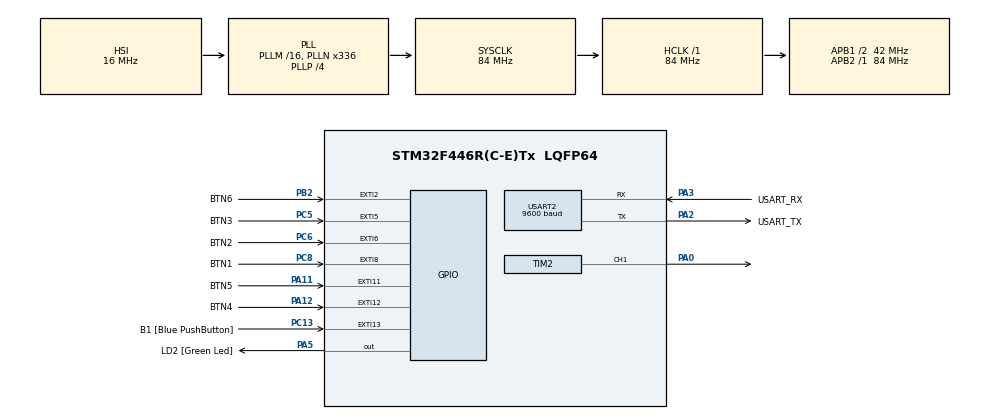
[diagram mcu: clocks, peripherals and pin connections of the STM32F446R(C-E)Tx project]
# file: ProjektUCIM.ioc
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Dma.Request0=TIM2_CH1
Dma.TIM2_CH1.0.Direction=DMA_MEMORY_TO_PERIPH
Dma.TIM2_CH1.0.FIFOMode=DMA_FIFOMODE_DISABLE
Dma.TIM2_CH1.0.Instance=DMA1_Stream5
Dma.TIM2_CH1.0.MemDataAlignment=DMA_MDATAALIGN_WORD
Dma.TIM2_CH1.0.MemInc=DMA_MINC_ENABLE
Dma.TIM2_CH1.0.Mode=DMA_CIRCULAR
Dma.TIM2_CH1.0.PeriphDataAlignment=DMA_PDATAALIGN_WORD
Dma.TIM2_CH1.0.PeriphInc=DMA_PINC_DISABLE
Dma.TIM2_CH1.0.Priority=DMA_PRIORITY_VERY_HIGH
Mcu.Family=STM32F4
Mcu.Name=STM32F446R(C-E)Tx
Mcu.Package=LQFP64
NVIC.DMA1_Stream5_IRQn=true\:0\:0\:false\:false\:true\:false\:true
NVIC.EXTI15_10_IRQn=true\:0\:0\:false\:false\:true\:true\:true
NVIC.EXTI2_IRQn=true\:0\:0\:false\:false\:true\:true\:true
NVIC.EXTI9_5_IRQn=true\:0\:0\:false\:false\:true\:true\:true
NVIC.PriorityGroup=NVIC_PRIORITYGROUP_0
NVIC.USART2_IRQn=true\:0\:0\:false\:false\:true\:true\:true
PA0-WKUP.Signal=S_TIM2_CH1_ETR
PA11.GPIO_Label=BTN5
PA11.GPIO_ModeDefaultEXTI=GPIO_MODE_IT_FALLING
PA11.GPIO_PuPd=GPIO_PULLUP
PA11.Signal=GPXTI11
PA12.GPIO_Label=BTN4
PA12.GPIO_ModeDefaultEXTI=GPIO_MODE_IT_FALLING
PA12.GPIO_PuPd=GPIO_PULLUP
PA12.Signal=GPXTI12
PA13.GPIO_Label=TMS
PA13.Mode=Serial_Wire
PA13.Signal=SYS_JTMS-SWDIO
PA14.GPIO_Label=TCK
PA14.Mode=Serial_Wire
PA14.Signal=SYS_JTCK-SWCLK
PA2.GPIO_Label=USART_TX
PA2.Mode=Asynchronous
PA2.Signal=USART2_TX
PA3.GPIO_Label=USART_RX
PA3.Mode=Asynchronous
PA3.Signal=USART2_RX
PA5.GPIO_Label=LD2 [Green Led]
PA5.Signal=GPIO_Output
PB2.GPIO_Label=BTN6
PB2.GPIO_ModeDefaultEXTI=GPIO_MODE_IT_FALLING
PB2.GPIO_PuPd=GPIO_PULLUP
PB2.Signal=GPXTI2
PB3.GPIO_Label=SWO
PB3.Signal=SYS_JTDO-SWO
PC13.GPIO_Label=B1 [Blue PushButton]
PC13.GPIO_ModeDefaultEXTI=GPIO_MODE_IT_FALLING
PC13.Signal=GPXTI13
PC14-OSC32_IN.Mode=LSE-External-Oscillator
PC14-OSC32_IN.Signal=RCC_OSC32_IN
PC15-OSC32_OUT.Mode=LSE-External-Oscillator
PC15-OSC32_OUT.Signal=RCC_OSC32_OUT
PC5.GPIO_Label=BTN3
PC5.GPIO_ModeDefaultEXTI=GPIO_MODE_IT_FALLING
PC5.GPIO_PuPd=GPIO_PULLUP
PC5.Signal=GPXTI5
PC6.GPIO_Label=BTN2
PC6.GPIO_ModeDefaultEXTI=GPIO_MODE_IT_FALLING
PC6.GPIO_PuPd=GPIO_PULLUP
PC6.Signal=GPXTI6
PC8.GPIO_Label=BTN1
PC8.GPIO_ModeDefaultEXTI=GPIO_MODE_IT_FALLING
PC8.GPIO_PuPd=GPIO_PULLUP
PC8.Signal=GPXTI8
PH0-OSC_IN.Mode=HSE-External-Oscillator
PH0-OSC_IN.Signal=RCC_OSC_IN
PH1-OSC_OUT.Mode=HSE-External-Oscillator
PH1-OSC_OUT.Signal=RCC_OSC_OUT
ProjectManager.HeapSize=0x200
ProjectManager.StackSize=0x400
ProjectManager.TargetToolchain=STM32CubeIDE
RCC.48MHZClocksFreq_Value=84000000
RCC.AHBFreq_Value=84000000
RCC.APB1CLKDivider=RCC_HCLK_DIV2
RCC.APB1Freq_Value=42000000
RCC.APB1TimFreq_Value=84000000
RCC.APB2Freq_Value=84000000
RCC.APB2TimFreq_Value=84000000
RCC.CortexFreq_Value=84000000
RCC.FLatency-AdvancedSettings=FLASH_LATENCY_2
RCC.HCLKFreq_Value=84000000
RCC.HSE_VALUE=8000000
RCC.HSI_VALUE=16000000
RCC.PLLN=336
RCC.PLLP=RCC_PLLP_DIV4
RCC.SYSCLKFreq_VALUE=84000000
RCC.SYSCLKSource=RCC_SYSCLKSOURCE_PLLCLK
RCC.USBFreq_Value=168000000
RCC.VCOOutputFreq_Value=336000000
SH.S_TIM2_CH1_ETR.0=TIM2_CH1,PWM Generation1 CH1
TIM2.Channel-PWM\ Generation1\ CH1=TIM_CHANNEL_1
TIM2.Period=104
USART2.BaudRate=9600
USART2.VirtualMode=VM_ASYNC
VP_CRC_VS_CRC.Mode=CRC_Activate
board=NUCLEO-F446RE

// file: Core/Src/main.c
/* USER CODE BEGIN Header */
/**
  ******************************************************************************
  * @file           : main.c
  * @brief          : Main program body
  ******************************************************************************
  * @attention
  *
  * <h2><center>&copy; Copyright (c) 2020 STMicroelectronics.
  * All rights reserved.</center></h2>
  *
  * This software component is licensed by ST under BSD 3-Clause license,
  * the "License"; You may not use this file except in compliance with the
  * License. You may obtain a copy of the License at:
  *                        opensource.org/licenses/BSD-3-Clause
  *
  ******************************************************************************
  */
/* USER CODE END Header */
#include "main.h"
#include "crc.h"
#include "dma.h"
#include "tim.h"
#include "usart.h"
#include "gpio.h"

/* USER CODE BEGIN Includes */
#include "stdarg.h"
#include "string.h"
#include "math.h"
#include "ws2812b.h"
#include <ctype.h>
#include <stdlib.h>
#include <stdio.h>
/* USER CODE END Includes */

/* USER CODE BEGIN PV */

//\\\\\\\\\\\\\\\\\\\\\\\\\\Protokół Komunikacyjny/////////////////////////////
/*========================Receive==============================*/
#define buf_RX_length 255 //dlugość bufora
volatile uint8_t buf_RX[buf_RX_length];
volatile uint16_t RX_EMPTY = 0; //wskaźnik zapisu bufora
volatile uint16_t RX_BUSY = 0; //wskaźnik odbioru bufora
/*========================Transmit=============================*/
#define buf_TX_length 255 //długość bufora
volatile uint8_t buf_TX[buf_TX_length];
volatile uint16_t TX_EMPTY = 0; //wskaźnik zapisu bufora
volatile uint16_t TX_BUSY = 0; //wskaźnik odbioru bufora
/*========================Inne=================================*/
uint8_t errorAS; //Flaga już wysłanego błędu
uint8_t commandSlot = 0; //Indeks tablicy command
char command[100]; //Tablica odczytująca komende
char returnFrame[9]; //Tablica zawierająca ramke zwrotną

////////////////////////////Protokół Komunikacyjny\\\\\\\\\\\\\\\\\\\\\\\\\\\\\\

//\\\\\\\\\\\\\\\\\\\\\\\\\\WS2812B/////////////////////////////

#define n_led 8 //ilość obsługiwanych ledów
//#define n_led 256 //ilość obsługiwanych ledów
#define reset_bit 60 //ilośc bitów resetujących
#define n_bit reset_bit+24*n_led //połączona ilość bitów do wysłania

uint32_t reset = 0; //bit resrtu
uint32_t high = 64; //bit logiczne 1
uint32_t low = 32; //bit logiczne 0

uint32_t control_buffer[n_bit]; //Cały bufor przechowujący dane do LED'ów, podawany do PWM'a

////////////////////////////WS2812B\\\\\\\\\\\\\\\\\\\\\\\\\\\\\\

uint8_t switch_color = 0; //Indeks do siwtch'a
int execute = 1;

//\\\\\\\\\\\\\\\\\\\\\\\\\\LED ANIMACJE/////////////////////////////
//Współrzędne macierzy do testowania
int x = 1, x2 = 1, y = 1, y2 = 1;

//zmienne kontroli animacji z defaultowymi wartościami
float brightness = 0.6; //jasność (od 0 do 1 - mnoży kolory)
float speed = 0.6; //prędkość animacji (od 0 do 1 - mnoży kolory)
uint8_t colourID = 2; //ID koloru
uint8_t modeID = 1; //ID trybu wyświetlania (0 to tryb testowania)

//KOLORY
uint8_t pink[3] = {255,0,255};
uint8_t folly[3] = {255,0,85};
uint8_t red[3] = {255,0,0}; //RED
uint8_t orange[3] = {255,128,0};

uint8_t lime[3] = {212,255,0};
uint8_t brightGreen[3] = {85,255,0};
uint8_t green[3] = {0,255,0};//GREEN
uint8_t malachite[3] = {0,255,85};

uint8_t capri[3] = {0,170,255};
uint8_t blue[3] = {0,0,255};//BLUE
uint8_t indigo[3] = {128,0,255};

uint8_t white[3] = {255,255,255};
uint8_t turn_off[3] = {0,0,0};
uint8_t inputColour[3] = {0, 0, 0};

uint8_t noOfColours = 11; //liczba używanych kolorów podczas normalnej pracy
//tablica wskaźników na kolory
uint8_t *colourPtr[13] = {inputColour, turn_off, red, orange, lime, brightGreen, green, malachite, capri, blue, indigo, pink, folly}; //noOfColours+2

int Tick = 0; //tick zegara co 1 ms
uint8_t somethingChanged = 1; //Flaga wprowadzonej zmiany (koloru, prędkości, jasności, trybu)

//NEW
int colorSwitchStatus = 0; //zmienna statusu funkcji colorSwitch

////////////////////////////LED ANIMACJE\\\\\\\\\\\\\\\\\\\\\\\\\\\\\\

//EXTI
uint8_t interrupted = 0; //zmienna sprawdza czy przerwanei zostało właśnie wywołane
uint32_t interruptTick = 0; //Tick opóźnienia przerwania

/* USER CODE END PV */

void SystemClock_Config(void);
/* USER CODE BEGIN PFP */

//\\\\\\\\\\\\\\\\\\\\\\\\\\Protokół Komunikacyjny/////////////////////////////
void communicationProtocol();
void readFrame();
int controlSumRX();
void readCommand();
void returnFrameAppend(char str[]);
int compareCommand(char commandStr[], int hasArgs, char str[]);
uint32_t hex2int(char *hex);
int numOfDigits(long long num);

void Send(char* msg_to_send, ...);
////////////////////////////Protokół Komunikacyjny\\\\\\\\\\\\\\\\\\\\\\\\\\\\\\

//\\\\\\\\\\\\\\\\\\\\\\\\\\WS2812B/////////////////////////////

uint8_t switchBitOrder(uint8_t var); //Funkcja zmienia endian
uint32_t getColorInBit(uint8_t red,uint8_t green,uint8_t blue); //Funkcja zmienia dec na binarny
uint32_t mapBitInNZR(uint32_t color, uint8_t c); //Funkcja zmienia binarny na NZR
void get_aLight(uint8_t * color_vector, uint16_t ledID, uint16_t ledAmount);
void innit_aLight();
void launchLED(); //TODO jakaś implementacja
////////////////////////////WS2812B\\\\\\\\\\\\\\\\\\\\\\\\\\\\\\

//\\\\\\\\\\\\\\\\\\\\\\\\\\LED ANIMACJE/////////////////////////////

//NEW
void checkArgs(); //sprawdza poprawność zakresu argumentów i je ewentualnie zapętla
void exeLED(); //wybiera funkcje trybu
void save(); //zapisuje obecny stan do zmiennych temp lub do pamiecy flash
void init(); //uruchamia od nowa wszystko i resetuje pamiec flash oraz zmienne temp
void bringback(); //przywraca stan z pamięci flash lub zmiennych temp
void testInit(); //zachowuje zmienne save() i przechodzi w tryb testowania

//Funkcje zmieniające parametry
void CMN(); //Zmiana trybu wyświetlania na następny.
void CMP(); //Zmiana trybu wyświetlania na poprzedni.
void CCN(); //Zmiana wyświetlanego koloru na następny.
void CCP(); //Zmiana wyświetlanego koloru na poprzedni
void CBU(); //Zmiana jasności na wyższy stopień.
void CBD(); //Zmiana jasności na niższy stopień.
void CSU(); //Zmiana prędkości wyświetlania na wyższy stopień.
void CSD(); //Zmiana prędkości wyświetlania na niższy stopień.

//Animacje
uint8_t * colorSwitch(uint8_t * color_vector1, uint8_t * color_vector2, uint8_t jump); //Funkcja przechodzi między dwoma kolorami
int noOfAnimations = 5;
void testMode(); //Tryb testowy
void oneColour(); //wyświetla jeden stały kolor
void colourPulse(); //wyświetla pulsujący kolor
void colourFade(); //Przechodzi między odcieniami jednego koloru
void rainbow(); //przechodzi przez wszystkie kolory
void iconMode(); //Wyświetla animacje ikon

////////////////////////////LED ANIMACJE\\\\\\\\\\\\\\\\\\\\\\\\\\\\\\

//\\\\\\\\\\\\\\\\\\\\\\\\\\FLASH/////////////////////////////

//TODO test
void eraseSector5(); //Funkcja czyści sektor piąty
void getNextFreeFlashWord(); //Funkcja szuka pierwszej wolnej pary słów w piątym sektorze
void SaveVarsToFlash(); //Funkcja zapisuje zmienne operacyjne do flash
void getVarsFromFlash(); //Funkcja odczytuje ostatnie zmienne operacyjne z pamięci flash
uint32_t * nextFreeFlashWord = (uint32_t*)0x08020000; //Wskaźnik na pierwsze wolne słowo pamięci

////////////////////////////FLASH\\\\\\\\\\\\\\\\\\\\\\\\\\\\\

/* USER CODE END PFP */

/* USER CODE BEGIN 0 */

void HAL_GPIO_EXTI_Callback(uint16_t GPIO_Pin)
{
	if(GPIO_Pin == B1_Pin)
	{
		HAL_GPIO_TogglePin(LD2_GPIO_Port, LD2_Pin);
		Send("test\r\n");
	}
	else if(GPIO_Pin == BTN1_Pin && !interrupted) //Przycisk 1
	{
		interrupted = 1;
		CCN();
	}
	else if(GPIO_Pin == BTN2_Pin && !interrupted) //Przycisk 2
	{
		interrupted = 1;
		CMN();
	}
	else if(GPIO_Pin == BTN3_Pin && !interrupted) //Przycisk 3
	{
		interrupted = 1;
		CSU();
	}
	else if(GPIO_Pin == BTN4_Pin && !interrupted) //Przycisk 4
	{
		interrupted = 1;
		CBU();
	}
	else if(GPIO_Pin == BTN5_Pin && !interrupted) //Przycisk 5
	{
		interrupted = 1;
		CMP();
	}
	else if(GPIO_Pin == BTN6_Pin && !interrupted) //Przycisk 6
	{
		interrupted = 1;
		CCP();
	}
}

void Sys_1ms_Tick() //Funkcja wywoływana co 1ms
{
	Tick++;

	if(interrupted) //Sprawdzenie czy przerwanie zostało wywołane
	{
		interruptTick++;
		if(interruptTick > 300) //Sprawdzenie czy minął czas od ostatniego wciśnięcia przycisku
		{
			interruptTick = 0; //Reset zmiennej Tick
			interrupted = 0; //reset zmiennej interrupted
		}
	}
}

/* USER CODE END 0 */

int main(void)
{

  /* MCU Configuration--------------------------------------------------------*/

  /* Reset of all peripherals, Initializes the Flash interface and the Systick. */
  HAL_Init();

  /* Configure the system clock */
  SystemClock_Config();

  /* Initialize all configured peripherals */
  MX_GPIO_Init();
  MX_DMA_Init();
  MX_USART2_UART_Init();
  MX_CRC_Init();
  MX_TIM2_Init();
  /* USER CODE BEGIN 2 */

  HAL_UART_Receive_IT(&huart2, &buf_RX[RX_EMPTY], 1); //Uruchomienie oczekiwania na znak

  getNextFreeFlashWord(); //Znalezienie ostatnich zapisanych zmiennych w FLASH
  bringback(); //Odczytanie ostatnich zapisanych zmiennych z FLASH

  innit_aLight(); //Inicjalizacja bufora LED z kolorem czarnym
  HAL_TIM_PWM_Start_DMA(&htim2, TIM_CHANNEL_1, control_buffer, n_bit); //Uruchomienie PWM z DMA

  /* USER CODE END 2 */

  /* Infinite loop */
  /* USER CODE BEGIN WHILE */
  while (1)
  {
	  communicationProtocol(); //Sprawdzenie protokołu komunikacyjnego

	  //Sprawdzenie czy zmienne operacyjne uległy zmianie lub minął ustalony czas
	  if(somethingChanged || Tick > 50*(1.2-speed))
	  {
		  exeLED();
		  Tick = 0; //Reset czasu
		  somethingChanged = 0; //Reset flagi zmiany
	  }

    /* USER CODE END WHILE */

  }
}

void SystemClock_Config(void)
{
  RCC_OscInitTypeDef RCC_OscInitStruct = {0};
  RCC_ClkInitTypeDef RCC_ClkInitStruct = {0};

  /** Configure the main internal regulator output voltage
  */
  __HAL_RCC_PWR_CLK_ENABLE();
  __HAL_PWR_VOLTAGESCALING_CONFIG(PWR_REGULATOR_VOLTAGE_SCALE3);
  /** Initializes the RCC Oscillators according to the specified parameters
  * in the RCC_OscInitTypeDef structure.
  */
  RCC_OscInitStruct.OscillatorType = RCC_OSCILLATORTYPE_HSI;
  RCC_OscInitStruct.HSIState = RCC_HSI_ON;
  RCC_OscInitStruct.HSICalibrationValue = RCC_HSICALIBRATION_DEFAULT;
  RCC_OscInitStruct.PLL.PLLState = RCC_PLL_ON;
  RCC_OscInitStruct.PLL.PLLSource = RCC_PLLSOURCE_HSI;
  RCC_OscInitStruct.PLL.PLLM = 16;
  RCC_OscInitStruct.PLL.PLLN = 336;
  RCC_OscInitStruct.PLL.PLLP = RCC_PLLP_DIV4;
  RCC_OscInitStruct.PLL.PLLQ = 2;
  RCC_OscInitStruct.PLL.PLLR = 2;
  if (HAL_RCC_OscConfig(&RCC_OscInitStruct) != HAL_OK)
  {
    Error_Handler();
  }
  /** Initializes the CPU, AHB and APB buses clocks
  */
  RCC_ClkInitStruct.ClockType = RCC_CLOCKTYPE_HCLK|RCC_CLOCKTYPE_SYSCLK
                              |RCC_CLOCKTYPE_PCLK1|RCC_CLOCKTYPE_PCLK2;
  RCC_ClkInitStruct.SYSCLKSource = RCC_SYSCLKSOURCE_PLLCLK;
  RCC_ClkInitStruct.AHBCLKDivider = RCC_SYSCLK_DIV1;
  RCC_ClkInitStruct.APB1CLKDivider = RCC_HCLK_DIV2;
  RCC_ClkInitStruct.APB2CLKDivider = RCC_HCLK_DIV1;

  if (HAL_RCC_ClockConfig(&RCC_ClkInitStruct, FLASH_LATENCY_2) != HAL_OK)
  {
    Error_Handler();
  }
}

/* USER CODE BEGIN 4 */

//================================================WS2812B====================================================================

void launchLED()
{
	innit_aLight();
	switch_color++;
	switch(switch_color)
	{
		case 1:
			get_aLight(colourPtr[3],0,4);
			break;
		case 2:
			get_aLight(turn_off,0,8);
			break;
		case 3:
			get_aLight(colourPtr[3],0,4);
			break;
		case 4:
			get_aLight(turn_off,0,8);
			break;
		case 5:
			get_aLight(colourPtr[3],0,4);
			break;
		case 6:
			get_aLight(turn_off,0,8);
			break;
		case 7:
			get_aLight(turn_off,0,8);
			break;
		case 8:
			get_aLight(turn_off,0,8);
			break;
		case 9:
			get_aLight(colourPtr[3],4,4);
			break;
		case 10:
			get_aLight(turn_off,0,8);
			break;
		case 11:
			get_aLight(colourPtr[3],4,4);
			break;
		case 12:
			get_aLight(turn_off,0,8);
			break;
		case 13:
			get_aLight(colourPtr[3],4,4);
			break;
		case 14:
			get_aLight(turn_off,0,8);
			break;
		case 15:
			get_aLight(turn_off,0,8);
			break;
		case 16:
			get_aLight(turn_off,0,8);
			switch_color = 0;
			break;
		  }
}

void get_aLight(uint8_t * color_vector, uint16_t ledID, uint16_t ledAmount)
{
	//Funkcja konwertuje kolor na NZR i edytuje bufor dla dokładnych adresów

/*	uint8_t red = color_vector[0] * brightness * 0.02;
	uint8_t green = color_vector[1] * brightness * 0.02;
	uint8_t blue = color_vector[2] * brightness * 0.02;*/

	//rozdzielenie kolorów i przemnożenie wartości przez zmienną jasności

	uint8_t red = color_vector[0] * brightness;
	uint8_t green = color_vector[1] * brightness;
	uint8_t blue = color_vector[2] * brightness;

	uint32_t k = 0; //Zmienna pomocnicza
	uint8_t c = 0; //Zmienna pomocnicza
	uint32_t color = getColorInBit(red,green,blue); //Przetworzenie kolorów na postać bitową
	for (int i = reset_bit + (24*ledID); i < reset_bit + (24*ledID) + (24*ledAmount); i++)
	{
		if (i >= reset_bit) //Uzupełnienie bitów z kolorami
		{
			 c = k % 24; //zmienna C wyznacza miejsce bit'u
			 control_buffer[i] = mapBitInNZR(color,c); //konwersja na NZR
			 k++;
		}
	}
}

void innit_aLight() //Funkcja inicjalizuje bufor z kolorem czarnym
{
	uint8_t red = 0; //rozdzielenie kolorów
	uint8_t green = 0;
	uint8_t blue = 0;
	uint32_t k = 0;
	uint8_t c = 0;
	uint32_t color = getColorInBit(red,green,blue); //Przetworzenie kolorów na postać bitową
	for (int i = 0; i < n_bit; i++)
	{
		  if (i < reset_bit) //Uzupełnienie bitów reset
			  control_buffer[i] = reset;
		  else
		  { //Uzupełnienie bitów z kolorami
			  c = k % 24; //zmienna C wyznacza miejsce bit'u
			  control_buffer[i] = mapBitInNZR(color,c); //konwersja na NZR
			  k++;
		  }
	}
}

uint32_t mapBitInNZR(uint32_t color, uint8_t c) //Funkcja koduje bit w NZR odpowiednią kombinacją stanów wysokich i niskich
{
	if (((color & (1 << c)) >> c) == 1) //Sprawdzenie bitu c czy jest logicznym 1 lub 0
		return high;
	else
		return low;
}

uint32_t getColorInBit(uint8_t red,uint8_t green,uint8_t blue) //Funkcja zmienia kolejnośc kolorów z RGB na GRB
{
	uint8_t red_s = switchBitOrder(red); //Zamiana kolejności bitów
	uint8_t green_s = switchBitOrder(green);
	uint8_t blue_s = switchBitOrder(blue);
	return (green_s + (red_s << 8) + (blue_s << 16)); //Zwrócenie odpowiednio ułożonych barw
}

uint8_t switchBitOrder(uint8_t var) //Funkcja odwraca kolejność bitów
{
    uint8_t rav = 0; //Zmienna zwracana
    for(int i=0;i<8;i++) //Przejście przez każde 8 bitów
    {
    	rav |= ((var>>i) & 0b1)<<(7-i); //Przeniesienie bitu na drugą stronę
    }
	return rav; //Zwrócenie odbitej zmiennej
}

//================================================WS2812B====================================================================

//================================================LED ANIMACJE====================================================================

void save() //Funkcja zapisuje obecne zmienne
{
	SaveVarsToFlash();
}

void bringback() //Funkcja wczytuje ostatnie zachowane zmienne
{
	getVarsFromFlash();
}

void init() //Funkcja ustawia wartości zmiennych operacyjnych na nowe i je zapisuje
{
	brightness = 0.6; //jasność (od 0 do 1 - mnoży kolory)
	speed = 0.6; //prędkość animacji (od 0 do 1 - mnoży kolory)
	colourID = 2; //ID koloru
	modeID = 1; //ID trybu wyświetlania (0 to tryb testowania)
	save(); //Zapisanie wartości zmiennych operacyjnych
	somethingChanged = 1;  //Zmiana flagi zmiany wartości operacyjnych na true
}

void testInit() //Funkcja przygotowująca matryce do trybu testowego
{
	bringback(); //Odczytanie wartości poprzednich zmiennych operacyjnych
	save(); //Zapisanie wartości zmiennych operacyjnych

	modeID = 0; //Ustawienie wartości pod tryb testowy
	colourID = 0;
	brightness = 1;
	speed = 0.1;

	inputColour[0] = 0; //Reset wprowadzanych kolorów i pozycji
	inputColour[1] = 0;
	inputColour[2] = 0;
	x = 1;
	y = 1;
	x2 = 1;
	y2 = 1;

	innit_aLight(); //Inicjalizacja bufora kolorów od nowa
	somethingChanged = 1; //Zmiana flagi zmiany wartości operacyjnych na true
}

void checkArgs() //Funkcja sprawdza poprawność zakresu zmiennych operacyjnych
{
	//Warunki sprawdzające zakresy jasności, prędkości, trybu, koloru i zapętlanie ich
	//Kolor
	if(colourID-2 < 0)
	{
		colourID = noOfColours + 1;
	}
	else if(colourID-2 > noOfColours-1)
	{
		colourID = 2;
	}

	//Tryb
	if(modeID < 1)
	{
		modeID = noOfAnimations-1;
	}
	else if(modeID > noOfAnimations-1)
	{
		modeID = 1;
	}

	//Jasność
	if(brightness <= 0)
	{
		brightness = 1;
	}
	else if(brightness > 1)
	{
		brightness = 0.2;
	}

	//Prędkość
	if(speed <= 0)
	{
		speed = 1;
	}
	else if(speed > 1)
	{
		speed = 0.2;
	}
}

void exeLED() //Funkcja wybiera odpowiedni tryb
{
	//Swicth, który wybiera odpowiedni tryb na bazie zmiennej operacyjnej modeID
	switch(modeID)
	{
	case 0:
		testMode(); //Tryb testowy metrycy
		break;
	case 1:
		oneColour(); //animacja 1
		break;
	case 2:
		colourPulse(); //animacja 2
		break;
	case 3:
		colourFade(); //animacja 3
		break;
	case 4:
		rainbow(); //animacja 4
		break;
	case 5:
		iconMode(); //animacja 5 - animacja ikon
		break;
	default:
		break;
	}
}

//Animacje

uint8_t * colorSwitch(uint8_t * color_vector1, uint8_t * color_vector2, uint8_t jump) //Funkcja przechodzi płynnie między dwoma kolorami
{
	/* Funkcja odpowiada za płynne przejście między kolorem, który jest za wskaźnikiem
	 * color_vector1 do koloru color_vector2. W momencie osiągnięcia koloru zmienna colorSwitchStatus będzie równa 1
	 * */

	static uint8_t returnColor[3]; //Zwracany kolor
	static float newColor[3]; //Kolor pomocniczy do dokładnego obliczenia wartości
	static float dif[3]; //Różnica

	if(somethingChanged) //Sprawdzenie czy zmienne operacyjnie się zmieniły
	{
		for(int e = 0; e<3; e++)
		{
			newColor[e] = color_vector1[e]; //Przepisanie wartości koloru pierwszego
			dif[e] = (float)abs(color_vector1[e] - color_vector2[e])/jump; //Ustawienie różnicy animacji
		}
	}

	for(int e = 0; e<3; e++)
	{
		//Warunek wybiera odpowiedni kierunek zmiany koloru na podstawie różnicy argumentów funkcji
		if(color_vector1[e] > color_vector2[e])
		{
			//Zmniejszenie wartości barwy e
			newColor[e] -= dif[e];
			//Sprawdzenie czy wartość z argumentu drugiego została osiągnięta
			if(newColor[e] < color_vector2[e])
			{
				//Oznaczenie flagi końca zmiany koloru na 1
				colorSwitchStatus = 1;
			}
		}
		else
		{
			//Zwiększenie wartości barwy e
			newColor[e] += dif[e];
			//Sprawdzenie czy wartość z argumentu drugiego została osiągnięta
			if(newColor[e] > color_vector2[e])
			{
				//Oznaczenie flagi końca zmiany koloru na 1
				colorSwitchStatus = 1;
			}
		}
		if(!colorSwitchStatus) //Sprawdzenie czy kolor 2 został osiągnięty
		{
			returnColor[e] = newColor[e]; //Przepisanie zmienionej wartości koloru
		}
	}
	return returnColor; //Zwrócenie uzyskanego koloru
}

void testMode() //Funkcja zapala na matrycy ledy na bazie wprowadzonych współrzędnych macierzy
{
	if(somethingChanged) //Sprawdzenie czy obliczenia są konieczne
	{
		for(int i = 1; i<=16; i++) //Przejście po kolumnach matrycy
		{
			if(i >= x && i <= x2) //Sprawdzenie czy w kolumnie znajduje się nowy kolor
			{
				uint16_t startLed; //Deklaracja ledu startującego
				if(i%2!=0) //Sprawdzenie czy kolumna jest nieparzysta
				{
					startLed = 16*(i-1) + (y-1); //przypisanie wartości ledu startującego
				}
				else
				{
					startLed = 16*(i-1) + (16-y2); //przypisanie wartości ledu startującego
				}
				uint16_t ledNo = y2 - y + 1; //przypisanie ilości ledów do zapalenia w danej kolumnie
				get_aLight(colourPtr[colourID],startLed,ledNo); //Zapalenie ledów
			}
		}
	}
}

void oneColour() //funkcja wyświetla jeden kolor
{
	get_aLight(colourPtr[colourID],0,n_led);
}

void colourPulse() //Funkcja wyswietla pulsujący kolor
{
	static uint8_t animationToggle = 0; //Przejście do kolejnego etapu animacji
	static uint8_t nextColor[3]; //kolejny kolor

	if(somethingChanged) //Sprawdzenie czy zmienne operacyjne uległy zmianie
	{
		uint8_t *color_vector = colourPtr[colourID]; //Przepisanie nowego koloru
		nextColor[0] = color_vector[0] * 0.15;
		nextColor[1] = color_vector[1] * 0.15;
		nextColor[2] = color_vector[2] * 0.15;
		colorSwitchStatus=0; //Ustawienie flagi zakończenia zmiany koloru na 0
		animationToggle = 0; //Ustawienie zmiennej toggle na 0
	}

	if(colorSwitchStatus == 1) //Sprawdzenie czy zmiana koloru została zakończona
	{
		//Zmiana wartości zmiennej toggle na przeciwną
		animationToggle = (animationToggle == 1) ? 0 : 1;
		colorSwitchStatus = 0; //Ustawienie flagi zakończenia zmiany koloru na 0
		somethingChanged = 1; //Ustawienie flagi zmiany zmiennych operacyjnych na 1
	}

	//Wybranie odpowiedniego wywołania funkcji colorSwitch() na bazie zmiennej Toggle
	if(animationToggle == 0)
	{
		//Przejście z koloru bazowego na przyciemniony
		get_aLight(colorSwitch(colourPtr[colourID], nextColor, 40),0,n_led);
	}
	else
	{
		//Przejście z koloru przyciemnionego na bazowy
		get_aLight(colorSwitch(nextColor, colourPtr[colourID], 40),0,n_led);
	}
}

void colourFade() //Funkcja przechodzi płynnie między obecnym kolorem a następnym
{
	static uint8_t animationToggle = 0; //Przejście do kolejnego etapu animacji
	static uint8_t color1[3]; //kolor pierwszy

	if(somethingChanged) //Sprawdzenie czy zmienne operacyjne uległy zmianie
	{
		//uzyskanie ID następnego koloru
		uint8_t colourIDtmp = (colourID + 1 > noOfColours + 1) ? 2 : colourID + 1;
		uint8_t *color_vector = colourPtr[colourIDtmp]; //Przepisanie koloru 1
		color1[0] = color_vector[0];
		color1[1] = color_vector[1];
		color1[2] = color_vector[2];
		colorSwitchStatus=0; //Ustawienie flagi zakończenia zmiany koloru na 0
		animationToggle = 0; //Ustawienie zmiennej toggle na 0
	}

	if(colorSwitchStatus == 1) //Sprawdzenie czy zmiana koloru została zakończona
	{
		//Zmiana wartości zmiennej toggle na kolejną
		animationToggle = (animationToggle == 1) ? 0 : 1;
		colorSwitchStatus = 0; //Ustawienie flagi zakończenia zmiany koloru na 0
		somethingChanged = 1; //Ustawienie flagi zmiany zmiennych operacyjnych na 1
	}

	//Wybranie odpowiedniego wywołania funkcji colorSwitch() na bazie zmiennej Toggle
	if(animationToggle == 0)
	{
		//Przejście z color 1 na bazowy
		get_aLight(colorSwitch(colourPtr[colourID], color1, 40),0,n_led);
	}
	else
	{
		//Przejście z bazowego na color 1
		get_aLight(colorSwitch(color1, colourPtr[colourID], 40),0,n_led);
	}
}

void rainbow() //Funkcja przechodzi płynnie między wszystkimi kolorami
{
	static uint8_t colourIDR = 2; //ID koloru 1
	static uint8_t colourIDRN = 3; //ID koloru 2

	if(somethingChanged) //Sprawdzenie czy zmienne operacyjne uległy zmianie
	{
		colorSwitchStatus=0; //Ustawienie flagi zakończenia zmiany koloru na 0
	}

	if(colorSwitchStatus == 1) //Sprawdzenie czy zmiana koloru została zakończona
	{
		colourIDR = (colourIDR + 1 > noOfColours + 1) ? 2 : colourIDR + 1; //Przejście na kolejny kolor
		colourIDRN = (colourIDRN + 1 > noOfColours + 1) ? 2 : colourIDRN + 1; //Przejście na kolejny kolor
		colorSwitchStatus = 0; //Ustawienie flagi zakończenia zmiany koloru na 0
		somethingChanged = 1; //Ustawienie flagi zmiany zmiennych operacyjnych na 1
	}
	//Wywołanie przejścia między kolorami
	get_aLight(colorSwitch(colourPtr[colourIDR], colourPtr[colourIDRN], 40),0,n_led);
}

void iconGenerator(uint8_t x_1, uint8_t y_1, uint8_t x_2, uint8_t y_2, uint8_t r, uint8_t g, uint8_t b)
{
	/* Funkcja odpowiada za wyświetlenie koloru podanego w argumentach na polu matrycy wyznaczonym przez
	 * argumenty, które są współrzędnymi dwóch punktów matrycy
	 * */
	uint8_t iconColor[3] = {r,g,b}; //Deklaracja tablicy koloru na bazie argumentów
	for(int i = 1; i<=16; i++) //Przejście po kolumnach matrycy
	{
		if(i >= x_1 && i <= x_2) //Sprawdzenie czy w kolumnie znajduje się nowy kolor
		{
			uint16_t startLed; //Deklaracja ledu startującego
			if(i%2!=0) //Sprawdzenie czy kolumna jest nieparzysta
			{
				startLed = 16*(i-1) + (y_1-1); //przypisanie wartości ledu startującego
			}
			else
			{
				startLed = 16*(i-1) + (16-y_2); //przypisanie wartości ledu startującego
			}
			uint16_t ledNo = y_2 - y_1 + 1; //przypisanie ilości ledów do zapalenia w danej kolumnie
			get_aLight(iconColor,startLed,ledNo); //Zapalenie ledów
		}
	}
}

void iconMode() //Funkcja wyswietla animowaną ikonę
{
	if(somethingChanged) //Sprawdzenie czy zmienne operacyjne uległy zmianie
	{
		iconGenerator(1,1,16,16,0,0,0); //reset matrycy
	}
	static uint8_t iconTick = 10; //Zmienna odpowiadająca za długość wyświetlania jednej ikony
	static uint8_t iconToggle = 0; //Zmienna zmiany ikony
	iconTick ++;
	if(iconTick > 10) //Sprawdzenei czy nastąpiła pora zmiany ikony
	{
		iconTick = 0; //reset zmiennej Tick
		iconToggle = (iconToggle == 1) ? 0 : 1; //Zmiana zmiennej Toggle
		if(iconToggle == 0) //Wybór odpowiedniej ikony
		{
			iconGenerator(4,2,6,2,255,0,0); //Instrukcje odpowiadające ikonie
			iconGenerator(11,2,13,2,255,0,0);
			iconGenerator(3,3,7,3,255,0,0);
			iconGenerator(10,3,14,3,255,0,0);
			iconGenerator(2,4,15,7,255,0,0);
			iconGenerator(3,8,14,9,255,0,0);
			iconGenerator(4,10,13,11,255,0,0);
			iconGenerator(5,12,12,12,255,0,0);
			iconGenerator(6,13,11,13,255,0,0);
			iconGenerator(7,14,10,14,255,0,0);
			iconGenerator(8,15,9,15,255,0,0);
		}
		else
		{
			iconGenerator(1,1,16,16,0,0,0); //reset
			iconGenerator(5,3,6,3,255,0,0); //Instrukcje odpowiadające ikonie
			iconGenerator(11,3,12,3,255,0,0);
			iconGenerator(4,4,7,4,255,0,0);
			iconGenerator(10,4,13,4,255,0,0);
			iconGenerator(3,5,14,7,255,0,0);
			iconGenerator(4,8,13,9,255,0,0);
			iconGenerator(5,10,12,11,255,0,0);
			iconGenerator(6,12,11,12,255,0,0);
			iconGenerator(7,13,10,13,255,0,0);
			iconGenerator(8,14,9,14,255,0,0);
		}
	}
}

//Funkcje zmieniające parametry

void CMN() //Przechodzi na kolejny tryb
{
	bringback(); //Przywrócenie wcześniejszych ustawień
	modeID++; //zmiana
	checkArgs(); //sprawdzenie poprawności zakresu
	save(); //Zapisanie zmiany
	somethingChanged = 1; //Zmiana flagi zmiany na true
}

void CMP() //Przechodzi na poprzedni tryb
{
	bringback(); //Przywrócenie wcześniejszych ustawień
	modeID--; //zmiana
	checkArgs(); //sprawdzenie poprawności zakresu
	save(); //Zapisanie zmiany
	somethingChanged = 1; //Ustawienie flagi zmiany na prawde
}

void CCN() //Zmienia kolor na kolejny
{
	if(modeID!=4 && modeID!=5) //Sprawdzenie czy obecny tryb obsługuje zmianę koloru
	{
		bringback(); //Przywrócenie wcześniejszych ustawień
		colourID++; //zmiana
		checkArgs(); //sprawdzenie poprawności zakresu
		save(); //Zapisanie zmiany
		somethingChanged = 1; //Ustawienie flagi zmiany na prawde
	}
}

void CCP() //Zmienia kolor na poprzedni
{
	if(modeID!=4 && modeID!=5) //Sprawdzenie czy obecny tryb obsługuje zmianę koloru
	{
		bringback(); //Przywrócenie wcześniejszych ustawień
		colourID--; //zmiana
		checkArgs(); //sprawdzenie poprawności zakresu
		save(); //Zapisanie zmiany
		somethingChanged = 1; //Ustawienie flagi zmiany na prawde
	}
}

void CBU() //Zmienia jasność na stopień wyżej
{
	bringback(); //Przywrócenie wcześniejszych ustawień
	brightness += 0.2; //zmiana
	brightness = roundf(brightness * 100)/100; //zaokrąglenie do 2 miejsca po przecinku
	checkArgs(); //sprawdzenie poprawności zakresu
	save(); //Zapisanie zmiany
}

void CBD() //Zmienia jasność na stopień nieżej
{
	bringback(); //Przywrócenie wcześniejszych ustawień
	brightness -= 0.2; //zmiana
	brightness = roundf(brightness * 100)/100; //zaokrąglenie do 2 miejsca po przecinku
	checkArgs(); //sprawdzenie poprawności zakresu
	save(); //Zapisanie zmiany
}

void CSU() //Zmienia prędkość na stopień wyżej
{
	bringback(); //Przywrócenie wcześniejszych ustawień
	speed += 0.2; //zmiana
	speed = roundf(speed * 100)/100; //zaokrąglenie do 2 miejsca po przecinku
	checkArgs(); //sprawdzenie poprawności zakresu
	save(); //Zapisanie zmiany
}

void CSD() //Zmienia prędkość na stopień niżej
{
	bringback(); //Przywrócenie wcześniejszych ustawień
	speed -= 0.2; //zmiana
	speed = roundf(speed * 100)/100; //zaokrąglenie do 2 miejsca po przecinku
	checkArgs(); //sprawdzenie poprawności zakresu
	save(); //Zapisanie zmiany
}

//================================================LED ANIMACJE====================================================================

//\\\\\\\\\\\\\\\\\\\\\\\\\\FLASH/////////////////////////////

void eraseSector5() //Funkcja czyści sektor 5 FLASH
{
	HAL_FLASH_Unlock(); //Odblokowanie pamięci

	FLASH_EraseInitTypeDef EraseInitStruct; //Ustawienie parametrów czyszczenia
	EraseInitStruct.TypeErase = FLASH_TYPEERASE_SECTORS;
	EraseInitStruct.Sector = FLASH_SECTOR_5;
	EraseInitStruct.NbSectors = 1;

	uint32_t SectorError;
	volatile HAL_StatusTypeDef status;
	status = HAL_FLASHEx_Erase(&EraseInitStruct, &SectorError); //Czyszczenie pamięci sektora 5
	if(status == HAL_OK) //Sprawdzenie czy czyszczenie powiodło się
	{
		Send("Flash Complete"); //Poinformowanie o wyczyszczeniu
	}

	HAL_FLASH_Lock(); //Zablokowanie pamięci
}

void getNextFreeFlashWord() //Funkcja szuka pierwszej wolnej pary słów sektora 5 FLASH
{
	//Przeszukanie całego sektora parami słów (0x08040000 - 8 eliminuje możliwośc przypadkowego przekroczenia sektora)
	while(nextFreeFlashWord < (uint32_t*)(0x08040000 - 8) && *nextFreeFlashWord != 0xFFFFFFFF)
	{
		nextFreeFlashWord += 2; //Przejście na kolejną parę
	}

	//Sprawdzenie czy wyszedłem poza sektor, jeśli tak to wracam na początek przepisując ostatnie zmienne
	if(nextFreeFlashWord >= (uint32_t*)0x08040000 - 8)
	{
		getVarsFromFlash();
		eraseSector5();
		nextFreeFlashWord = (uint32_t*)0x08020000;
		SaveVarsToFlash();
		Send("ERASED!\r\n");
	}
}

void SaveVarsToFlash() //Funkcja zapisuje zmienne operacyjne do FLASH
{
	uint8_t brightnessT = brightness*100; //Przepisanie zmiennej brightness do uint8_t
	uint8_t speedT = speed*100; //Przepisanie zmiennej brightness do uint8_t

	uint32_t rar1 = 0; //Deklaracja zmiennych uint32_t do zapisu
	uint32_t rar2 = 0;

	//Przepisanie zmiennych operacyjnych uint8_t do zmiennej uint32_t
	rar1 = brightnessT | speedT << 8 | modeID << 16 | colourID << 24;

	HAL_FLASH_Unlock(); //Odblokowanie FLASH
	//Zapis zmiennych na odpowiednich miejscach
	HAL_FLASH_Program(FLASH_TYPEPROGRAM_WORD, (uint32_t)nextFreeFlashWord, rar1);
	HAL_FLASH_Program(FLASH_TYPEPROGRAM_WORD, (uint32_t)(nextFreeFlashWord+1), rar2);
	HAL_FLASH_Lock(); //Zablokowanie pamięci

	nextFreeFlashWord += 2; //Przypisanie adresu kolejnego pustego miejsca

	//Sprawdzenie czy wyszedłem poza sektor, jeśli tak to wracam na początek przepisując ostatnie zmienne na początek
	if(nextFreeFlashWord >= (uint32_t*)(0x08040000 - 8))
	{
		eraseSector5();
		nextFreeFlashWord = (uint32_t*)0x08020000;
		SaveVarsToFlash();
		Send("ERASED!\r\n"); //Poinformowanie o wyczyszczeniu pamięci
	}
}

void getVarsFromFlash() //Funkcja odczytuje zmienne operacyjne z FLASH
{
	uint32_t rar1; //Deklaracja zmiennych uint32_t do odczytu
	//uint32_t rar2;

	uint8_t brightnessT; //Deklaracja tymczasowych zmiennych uint8_t
	uint8_t speedT;

	rar1 = *(nextFreeFlashWord-2); //Odczytanie zmiennych uint32_t z flash
	//rar2 = *(nextFreeFlashWord-1);

	//rodzielenie zmiennej uint32_t na 4 i przypisanie wartości do odpowiedników uint8_t
	colourID = rar1 >> 24;
	modeID = rar1 >> 16;
	speedT = rar1 >> 8;
	brightnessT = rar1;

	//konwersja uint8_t na float
	speed = (float)speedT/100;
	brightness = (float)brightnessT/100;
}

////////////////////////////FLASH\\\\\\\\\\\\\\\\\\\\\\\\\\\\\

//================================================Protokół komunikacyjny====================================================================

void communicationProtocol() //Funkcja odpowiedzialna za odnalezienie ramki
{
	uint8_t singleChar; //Zmienna pobierająca znaki z bufora
	static uint8_t errorTL = 0; //flaga kontroli wyjścia poza tablice
	static uint8_t gotFrame = 0; //Flaga stanu wykrycia ramki

    if(RX_BUSY != RX_EMPTY) //Sprawdzenie czy w buforze znajdują się elementy gotowe do odbioru
    {
        singleChar = buf_RX[RX_BUSY]; //Zapisanie do char'a obecnego elementu z bufora
        RX_BUSY++; //przejście na kolejne miejsce w buforze
        if(RX_BUSY>=buf_RX_length) //Sprawdzenie zakresu i ewentualne cofnięcie
        {
            RX_BUSY = 0;
        }

        if(gotFrame) //Sprawdzenie czy ramka została wykryta
        {
        	if(singleChar == ';') //Sprawdzenie czy char to nie ; (koniec ramki)
        	{
        		if(commandSlot >= 16) //Sprawdzenie czy polecenie jest wystarczająco długie
        		{
        			readFrame(); //Wywołanie funkcji readFrame()
        		}
        		commandSlot = 0; //Reset indeksu tablicy
        		errorTL = 0; //Ustawienie flagi zbyt długiej komendy na 0
        		gotFrame = 0; //Ustawienie flagi ramki na 0
        	}
        	else if(!errorTL) //Sprawdzenie czy komenda nie jest zbyt długa
        	{
                command[commandSlot] = singleChar; //Przepisanie odczytanego chara do tablicy
                commandSlot++; //Przejście do kolejnego miejsca tablicy
                if(commandSlot > 46) //Kontrola wyjścia poza zakres tablicy
                {
                	errorTL = 1; //Ustawienie flagi zbyt długiej komendy na 1
                	//gotFrame = 0;
                }
        	}
        }

        if(singleChar == '/') //Sprawdzenie czy znak to początek ramki
        {
        	commandSlot = 0; //Wyzerowanie indeksu
        	errorTL = 0; //Ustawienie flagi zbyt długiej komendy na 0
        	gotFrame = 1; //Ustawienie flagi wykrycia ramki na 1
        }
    }
}

void readFrame() //Funkcja sprawdzająca poprawność ramki
{
	//===========================\CRC/===============================

	if(!controlSumRX()) //Sprawdzenie sumy kontrolnej CRC32
	{
		return;
	}

	for(int e = 0; e <= commandSlot - 10; e++) //Usunięcie sumy kontrolnej z tablicy
	{
		command[e] = command[e+10];
	}
	commandSlot -= 10; //Skrócenie długości polecenia

	//===========================/CRC\===============================

	for(int e = 0; e < 3; e++) //Odczytanie nadawcy
	{
		returnFrame[e+3] = command[e];
	}
	for(int e = 0; e <= commandSlot - 3; e++) //Usunięcie nadawcy z tablicy
	{
		command[e] = command[e+3];
	}
	commandSlot -= 3; //Skrócenie długości polecenia

	char receiverStr[4]; //Deklaracja stringa z nazwą odbiorcy i przepisanie go
	for(int e=0; e<3; e++)
	{
		receiverStr[e]=command[e];
	}
	receiverStr[3]='\0';

	if(!strncmp(receiverStr, "STM", 3)) //Sprawdzenie czy odbiorca jest poprawny
	{
		for(int e = 0; e <= commandSlot - 3; e++) //Usunięcie odbiorcy z tablicy
		{
			command[e] = command[e+3];
		}
		commandSlot -= 3; //Skrócenie długości komendy

		readCommand(); // Wywołanie funkcji sprawdzającej polecenie

		returnFrame[0] = 'S'; //Ustawienie nadawcy w ramce zwrotnej
		returnFrame[1] = 'T';
		returnFrame[2] = 'M';

		//===========================\CRC/===============================

		uint32_t returnFramE[9]; //nowa tablica returnFrame 32 bitowa do wywołania funkcji crc calculate
		for(int e = 0; e<9; e++) //przepisanie wartości do nowej tablicy
		{
			returnFramE[e]=returnFrame[e];
		}
		uint32_t crcValue = HAL_CRC_Calculate(&hcrc, returnFramE, 9); //Obliczenie CRC32 MPEG-2 z tablicy pomocniczej
		Send("/0x%X%s;\r\n",crcValue,returnFrame); //Wysłanie ramki zwrotnej z CRC32

		//===========================/CRC\===============================
		//Send("/%s;\r\n",returnFrame); //Wysłanie ramki zwrotnej
	}
	else
	{
		return; //Opuszczenie funkcji w wypadku błędnego odbiorcy
	}

}

int controlSumRX() //Funkcja sprawdza poprawnośc przysłanego crc
{
	uint32_t crcValue; //Wartość CRC do obliczenia
	char crcRXArray[10]; //Tablica do przechowania sumy kontrolnej

	for(int e = 0; e < 10; e++) //Przepisanie sumy kontrolnej
	{
		crcRXArray[e] = command[e];
	}

	uint32_t crcRXValue = hex2int(crcRXArray); //Przepisanie wartości odczytanej sumy kontrolnej do zmiennej uint32_t

	uint32_t cmdArray[commandSlot-10]; //Deklaracja tablicy pomocnicznej do przechowania komendy
	for(int e = 0; e <=commandSlot-10 ; e++) //Przepisanie komendy do tablicy pomocniczej
	{
		cmdArray[e] = (uint32_t)command[e+10];
	}

	crcValue = HAL_CRC_Calculate(&hcrc, cmdArray, commandSlot-10); //Obliczenie CRC32 MPEG-2 dla komendy
	if(crcRXValue == crcValue) //Sprawdzenie czy suma odczytana i obliczona są zgodne
	{
		return 1;
	}
	else
	{
		return 0;
	}
}

void readCommand() //Funkcja sprawdzająca polecenie
{
	//zmienne wejścia
	int brightnessIn = 0; //od 1 do 100
	int speedIn = 0; // od 1 do 100

	static uint8_t exeMode = 0; //Flaga testowego trybu
	errorAS = 0; //Reset flagi wysłanego errora
	char lastChar; //Char do sprawdzania ostatniego znaku w scanf
	char nawias; //Char do sprawdzania czy argumenty kończą się poprawnie nawiasem

	char commandStr[commandSlot+1]; //String zawierający w sobie odebraną komende
	for(int e = 0; e<commandSlot; e++) //Uzupełnienie stringa commandStr o komendę
	{
		commandStr[e] = command[e];
	}
	commandStr[commandSlot] = '\0';

	if(!exeMode) //Sprawdzenie trybu pracy
	{
		if(compareCommand(commandStr, 0,"CMN")) //Sprawdzenie czy polecenie to CMN(następny tryb)
		{
			returnFrameAppend("EXE");
			CMN();
		}
		else if(compareCommand(commandStr, 0,"CMP")) //Sprawdzenie czy polecenie to CMP(poprzedni tryb)
		{
			returnFrameAppend("EXE");
			CMP();
		}
		else if(compareCommand(commandStr, 0,"CCN")) //Sprawdzenie czy polecenie to CCN(następny kolor)
		{
			returnFrameAppend("EXE");
			CCN();
		}
		else if(compareCommand(commandStr, 0,"CCP")) //Sprawdzenie czy polecenie to CCP(poprzedni kolor)
		{
			returnFrameAppend("EXE");
			CCP();
		}
		else if(compareCommand(commandStr, 0,"CBU")) //Sprawdzenie czy polecenie to CBU(jaśniej)
		{
			returnFrameAppend("EXE");
			CBU();
		}
		else if(compareCommand(commandStr, 0,"CBD")) //Sprawdzenie czy polecenie to CBD(ciemniej)
		{
			returnFrameAppend("EXE");
			CBD();
		}
		else if(compareCommand(commandStr, 0,"CSU")) //Sprawdzenie czy polecenie to CSU(szybciej)
		{
			returnFrameAppend("EXE");
			CSU();
		}
		else if(compareCommand(commandStr, 0,"CSD")) //Sprawdzenie czy polecenei to CSD(wolniej)
		{
			returnFrameAppend("EXE");
			CSD();
		}
		else if(compareCommand(commandStr, 0,"RES")) //Sprawdzenie czy polecenie to RES(reset do pierwotnych ustawień)
		{
			returnFrameAppend("EXE");
			init();
		}
		else if(compareCommand(commandStr, 0,"TEN")) //Sprawdzenie czy polecenie to TEN(exeMode = 1)
		{
			returnFrameAppend("EXE");
			exeMode = 1; //Zmiana trybu na testowy
			testInit(); //Przejście w tryb testowy
		}
		else if(compareCommand(commandStr, 1,"SEC(")) //Sprawdzenie czy polecenie to SEC(ustawienie koloru)
		{
			//Sprawdzenie poprawności argumentów i odczytanie ich
			if(sscanf(commandStr, "%d,%d,%d%c%c", &inputColour[0], &inputColour[1], &inputColour[2], &nawias, &lastChar)==4)
			{
				if(nawias == ')' ) //Sprawdzenie czy argumenty zostały poprawnie zamknięte
				{
					//Sprawdzenie zakresu argumentów
					if(inputColour[0] > 255 || inputColour[0] < 0 || inputColour[1] > 255 || inputColour[1] < 0 || inputColour[2] > 255 || inputColour[2] < 0)
					{
						returnFrameAppend("WRA"); //Poinformowanie o błędzie i wyzerowanie zmiennych
						inputColour[0] = 0, inputColour[1] = 0, inputColour[2] = 0;
					}
					else
					{
						returnFrameAppend("EXE");
						if(modeID!=4 && modeID!=5) //Sprawdzenie czy obecny tryb obsługuje zmiany koloru
						{
							colourID=0; //Zmianak colourID na 0 (wskaxnik na inputColour)
							somethingChanged = 1; //Ustawienie flagi zmiany na 1
						}
					}
				}
				else
				{
					returnFrameAppend("WRC");
					inputColour[0] = 0, inputColour[1] = 0, inputColour[2] = 0;
				}
			}
			else if(nawias == ')') //Sprawdzenie czy błąd wystąpił w argumentach
			{
				returnFrameAppend("WRC");
			}
			else
			{
				returnFrameAppend("WRA");
			}
		}
		else if(compareCommand(commandStr, 1,"SEB(")) //Sprawdzenie czy polecenie to SEB(ustawienie jasności)
		{
			//Sprawdzenie poprawności argumentów i odczytanie ich
			if(sscanf(commandStr, "%d%c%c", &brightnessIn, &nawias, &lastChar)==2)
			{
				if(nawias == ')' ) //Sprawdzenie czy argumenty zostały poprawnie zamknięte
				{
					//Sprawdzenie zakresu argumentów
					if(brightnessIn < 1 || brightnessIn > 100)
					{
						returnFrameAppend("WRA"); //Poinformowanie o błędzie i wyzerowanie zmiennych
					}
					else
					{
						returnFrameAppend("EXE");
						brightness = (float)brightnessIn/100;
					}
				}
				else
				{
					returnFrameAppend("WRC");
				}
			}
			else if(nawias == ')') //Sprawdzenie czy błąd wystąpił w argumentach
			{
				returnFrameAppend("WRC");
			}
			else
			{
				returnFrameAppend("WRA");
			}
		}
		else if(compareCommand(commandStr, 1,"SES(")) //Sprawdzenie czy polecenie to SES(ustawienie prędkości)
		{
			//Sprawdzenie poprawności argumentów i odczytanie ich
			if(sscanf(commandStr, "%d%c%c", &speedIn, &nawias, &lastChar)==2)
			{
				if(nawias == ')' ) //Sprawdzenie czy argumenty zostały poprawnie zamknięte
				{
					//Sprawdzenie zakresu argumentów
					if(speedIn < 1 || speedIn > 100)
					{
						returnFrameAppend("WRA"); //Poinformowanie o błędzie i wyzerowanie zmiennych
					}
					else
					{
						returnFrameAppend("EXE");
						speed = (float)speedIn / 100;
					}
				}
				else
				{
					returnFrameAppend("WRC");
				}
			}
			else if(nawias == ')') //Sprawdzenie czy błąd wystąpił w argumentach
			{
				returnFrameAppend("WRC");
			}
			else
			{
				returnFrameAppend("WRA");
			}
		}
		else if(!errorAS) //Sprawdzenie czy error został już wysłany
		{
			returnFrameAppend("WRC");
		}
	}
	else
	{
		if(compareCommand(commandStr, 0,"TEX")) //Sprawdzenie czy polecenie to TEX(exeMode = 0)
		{
			returnFrameAppend("EXE");
			exeMode = 0; //Zmiana trybu na normalny
			bringback(); //Odczytanie ostatnio zapisanych zmiennych operacyjnych
			somethingChanged = 1; //Ustawienie flagi zmiany na 1
		}
		else if(compareCommand(commandStr, 0,"TER")) //Sprawdzenie czy polecenie to TER(exeMode = 0 i reset)
		{
			returnFrameAppend("EXE");
			exeMode = 0; //Zmiana trybu na normalny
			init(); //Ustawienie defaultowych zmiennych operacyjnych
		}
		else if(compareCommand(commandStr, 1,"SEM[")) //Sprawdzenie czy polecenie to SEM(zmiana obszaru matrycy)
		{
			//Sprawdzenie poprawności argumentów i odczytanie ich
			if(sscanf(commandStr, "%d,%d][%d,%d](%d,%d,%d%c%c", &x, &y, &x2, &y2, &inputColour[0], &inputColour[1], &inputColour[2], &nawias, &lastChar)==8)
			{
				if(nawias == ')' ) //Sprawdzenie czy argumenty zostały poprawnie zamknięte
				{
					//Sprawdzenie zakresu argumentów
					if(x < 1 || x > 16 || x2 < 1 || x2 > 16 || y < 1 || y > 16 || y2 < 1 || y2 > 16 || inputColour[0] < 0 || inputColour[0] > 255 || inputColour[1] < 0 || inputColour[1] > 255 || inputColour[2] < 0 || inputColour[2] > 255)
					{
						returnFrameAppend("WRA");//Poinformowanie o błędzie i wyzerowanie zmiennych
						x = 0, x2 = 0, y = 0, y2 = 0, inputColour[0] = 0, inputColour[1] = 0, inputColour[2] = 0;
					}
					else
					{
						returnFrameAppend("EXE");
						somethingChanged = 1; //Ustawienie flagi zmiany na 1
					}
				}
				else
				{
					returnFrameAppend("WRC");
					x = 0, x2 = 0, y = 0, y2 = 0, inputColour[0] = 0, inputColour[1] = 0, inputColour[2] = 0;
				}
			}
			else if(nawias == ')') //Sprawdzenie czy błąd wystąpił w argumentach
			{
				returnFrameAppend("WRC");
			}
			else
			{
				returnFrameAppend("WRA");
			}
		}
		else if(!errorAS) //Sprawdzenie czy error został już wysłany
		{
			returnFrameAppend("WRC");
		}
	}
}

void returnFrameAppend(char str[]) //Funkcja uzupełnia tablice zwrotną o podane znaki
{
	returnFrame[6]=str[0];
	returnFrame[7]=str[1];
	returnFrame[8]=str[2];
}

int compareCommand(char commandStr[],int hasArgs, char str[]) //Funkcja sprawdzająca komende
{
	int strLen = strlen(str); //Długość szukanej komendy
	if(!strncmp(commandStr, str, strLen)) //Sprawdzenie czy polecenie to str
	{
		if(commandSlot != strLen && !hasArgs) //Sprawdzenie czy polecenie nie ma błędnej składni
		{
			returnFrameAppend("WRC"); //Powiadomienie o błędzie
			errorAS = 1; //Ustawienie flagi wysłanego errora na 1
			return 0;
		}

		for(int e=0; e<=commandSlot - strLen; e++) //Usunięcie odczytanego polecenia z tablicy w celu otrzymania samych argumentów
		{
			commandStr[e] = commandStr[e+strLen];
		}
		for(int e=commandSlot-strLen; e<commandSlot; e++) //reset reszty stringa
		{
			commandStr[e] = '\0';
		}
		commandSlot -= strLen; //skrócenie zmiennej długości polecenia
		return 1;
	}
	return 0;
}

uint32_t hex2int(char *hex) //Funkcja zwraca sumowaną wartość uint32_t dla znaków hex z argumentu
{
    uint32_t val = 0; //zwracana wartość uint32_t
    while (*hex) { //petla wywoływana dla każdego znaku z argumentu
        uint8_t byte = *hex++; //przejście wskaźnikiem na kolejny znak
        if (byte >= '0' && byte <= '9') byte = byte - '0'; // przeksztalcenie znaku ascii na jej odpowiednik wartości
        else if (byte >= 'a' && byte <='f') byte = byte - 'a' + 10;
        else if (byte >= 'A' && byte <='F') byte = byte - 'A' + 10;
        val = (val << 4) | (byte & 0xF); // dodanie wartości do zmiennej val
    }
    return val; //zwrócenie int 32 bitowego
}

int numOfDigits(long long num) //Funkcja obliczająca ilość cyfr w liczbie
{
    int count = 0;
    do
    {
        count++;
        num /= 10;
    } while(num != 0);
    return count;
}

//-------------------------UART-RX-CALLBACK-------------------------

void HAL_UART_RxCpltCallback(UART_HandleTypeDef *huart) //Callback wywoływany po odebraniu znaku
{
	if (huart -> Instance == USART2) //Sprawdzenie czy dane pochodzą z uart2
	{
		RX_EMPTY++; //Przejscie na kolejne miejsce w buforze RX
		if (RX_EMPTY >= buf_RX_length) //Sprawdzenie czy miejsce wychodzi poza limit bufora
		{
			RX_EMPTY = 0; //Ewentualne cofnięcie na poczatek bufora
		}
		HAL_UART_Receive_IT(&huart2, &buf_RX[RX_EMPTY], 1); //Wznowienie funkcji Receive_IT
	}
}

//-------------------------UART-TX-CALLBACK-------------------------

void HAL_UART_TxCpltCallback(UART_HandleTypeDef *huart) //Callback wywoływany po zakończeniu wysłania jednego znaku
{
	if (TX_BUSY != TX_EMPTY) //sprawdzenie czy są dostępne wolne dane do nadania
	{
		uint8_t tmp = buf_TX[TX_BUSY]; //przypisanie zmiennej tmp obecnej wartości z bufora
		TX_BUSY++; // przejście na kolejny element bufora

		if (TX_BUSY >= buf_TX_length) //Sprawdzenie czy miejsce wychodzi poza limit bufora
		{
			TX_BUSY = 0; //Ewentualne cofnięcie na początek bufora
		}
		HAL_UART_Transmit_IT(&huart2, &tmp, 1); //Wznowienie funkcji Transmit_IT
	}
}

//------------------SEND------------------

void Send(char* msg_to_send, ...) //Funkcja pobiera adresy do zmiennych typu char i uzupełnia bufor
{
	char data_to_send[100]; //Deklaracja tablicy pomocniczej oraz wskaźnika pomocniczego
	int indeks; //Deklaracja zmiennej wskazującej na TX_EMPTY

	//Skopoiowanie wszystkich argumentów do data_to_send
	va_list arguments;
	va_start(arguments, msg_to_send);
	vsprintf(data_to_send, msg_to_send, arguments);
	va_end(arguments); //Wyczyszczenie pamięci po va_list

	indeks = TX_EMPTY; //Przepisanei wartości TX_EMPTY

	for (int i = 0; i < strlen(data_to_send); i++) //Przepisanie danych do bufora
	{
		buf_TX[indeks] = data_to_send[i]; //Przepisanie znaku i do bufora na miejscu indeks
		indeks++; //Zwiększenie indeks o 1
		if (indeks >= buf_TX_length) //Sprawdzenie zakresu
		{
			indeks = 0;
		}
	}
	__disable_irq(); //Wyłączenie przerwań

	//Sprawdzenie czy wszystkie poprzednie znaki zostały wysłane i czy flaga TXE uart2 jest równa SET
	if ((TX_BUSY == TX_EMPTY) && (__HAL_UART_GET_FLAG(&huart2, UART_FLAG_TXE) == SET))
	{
		TX_EMPTY = indeks; //Przepisanie wartości indeks do EMPTY
		HAL_UART_Transmit_IT(&huart2, &buf_TX[TX_BUSY], 1); //Wznowienie funkcji Transmit_IT

		TX_BUSY++; //Zwiększenie BUSY o 1
		if (TX_BUSY >= buf_TX_length) //Sprawdzenie zakresu
		{
			TX_BUSY = 0;
		}
	}
	else
	{
		TX_EMPTY = indeks; //Przepisanie wartości indeks do EMPTY
	}
	__enable_irq(); //Włączenie przerwań
}

//================================================Protokół komunikacyjny====================================================================

/* USER CODE END 4 */

void Error_Handler(void)
{
}

/************************ (C) COPYRIGHT STMicroelectronics *****END OF FILE****/
